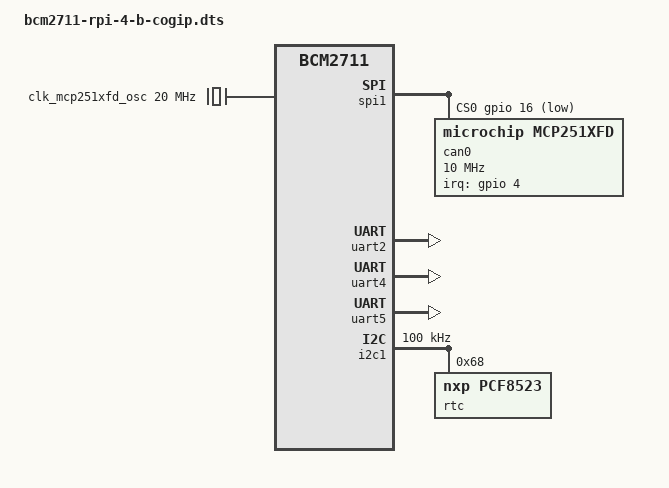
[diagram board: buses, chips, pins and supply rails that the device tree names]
// SPDX-License-Identifier: GPL-2.0
/*
 * Cogip Raspberry Pi 4 board device tree.
 *
 * Extends the stock RPi 4B DT (which itself pulls in arm/broadcom/...) with the
 * Cogip robot peripherals, baked directly into the board DT instead of stacking
 * config.txt overlays (mainline kernel has no overlay set). The root compatible
 * is inherited unchanged ("raspberrypi,4-model-b"), so brcmfmac still looks for
 * the brcmfmac43455-sdio.raspberrypi,4-model-b.txt NVRAM.
 *
 * Pin groups are defined inline (brcm,pins + FSEL) so this DT does not depend
 * on mainline pin-group label names. bcm2711 ALT4 mapping:
 *   GPIO19/20/21 = SPI1 MISO/MOSI/SCLK ; GPIO16 = SPI1 CS0 (driven as GPIO)
 *   GPIO4  = MCP251xFD IRQ
 *   GPIO0/1   = TXD2/RXD2 (uart2)
 *   GPIO8/9   = TXD4/RXD4 (uart4)
 *   GPIO12/13 = TXD5/RXD5 (uart5)
 *   GPIO2/3   = SDA1/SCL1 (i2c1)
 */
/dts-v1/;

#include "bcm2711-rpi-4-b.dts"

#include <dt-bindings/gpio/gpio.h>
#include <dt-bindings/interrupt-controller/irq.h>
#include <dt-bindings/pinctrl/bcm2835.h>

/ {
	/* CAN-FD crystal feeding the MCP251xFD (20 MHz). */
	clk_mcp251xfd_osc: clk-mcp251xfd-osc {
		compatible = "fixed-clock";
		#clock-cells = <0>;
		clock-frequency = <20000000>;
	};

	aliases {
		/*
		 * Pin the microSD slot (emmc2) to mmcblk0, like the RPi vendor DT.
		 * Mainline defines no mmc aliases, so it probes the WiFi SDIO
		 * controller (fe300000) first as mmc0 and the SD card (fe340000)
		 * becomes mmcblk1 -- breaking root=/dev/mmcblk0p2 and the fstab
		 * mounts (boot/data), which drop the boot to emergency mode.
		 */
		mmc0 = &emmc2;
		serial2 = &uart2;
		serial4 = &uart4;
		serial5 = &uart5;
	};
};

&gpio {
	spi1_cogip_pins: spi1-cogip-pins {
		brcm,pins = <19 20 21>;
		brcm,function = <BCM2835_FSEL_ALT4>;
	};

	spi1_cogip_cs_pins: spi1-cogip-cs-pins {
		brcm,pins = <16>;
		brcm,function = <BCM2835_FSEL_GPIO_OUT>;
	};

	can_irq_pins: can-irq-pins {
		brcm,pins = <4>;
		brcm,function = <BCM2835_FSEL_GPIO_IN>;
	};

	uart2_cogip_pins: uart2-cogip-pins {
		brcm,pins = <0 1>;
		brcm,function = <BCM2835_FSEL_ALT4>;
	};

	uart4_cogip_pins: uart4-cogip-pins {
		brcm,pins = <8 9>;
		brcm,function = <BCM2835_FSEL_ALT4>;
	};

	uart5_cogip_pins: uart5-cogip-pins {
		brcm,pins = <12 13>;
		brcm,function = <BCM2835_FSEL_ALT4>;
	};
};

/* CAN-FD (copilot bus): MCP251xFD on SPI1, CS0 = GPIO16, IRQ = GPIO4. */
&spi1 {
	pinctrl-names = "default";
	pinctrl-0 = <&spi1_cogip_pins &spi1_cogip_cs_pins>;
	cs-gpios = <&gpio 16 GPIO_ACTIVE_LOW>;
	status = "okay";

	can0: can@0 {
		compatible = "microchip,mcp251xfd";
		reg = <0>;
		pinctrl-names = "default";
		pinctrl-0 = <&can_irq_pins>;
		spi-max-frequency = <10000000>;
		interrupt-parent = <&gpio>;
		interrupts = <4 IRQ_TYPE_LEVEL_LOW>;
		clocks = <&clk_mcp251xfd_osc>;
	};
};

/* Extra PL011 UARTs: uart2 (mcu-logger), uart4 (lidar), uart5 (spare). */
&uart2 {
	pinctrl-names = "default";
	pinctrl-0 = <&uart2_cogip_pins>;
	status = "okay";
};

&uart4 {
	pinctrl-names = "default";
	pinctrl-0 = <&uart4_cogip_pins>;
	status = "okay";
};

&uart5 {
	pinctrl-names = "default";
	pinctrl-0 = <&uart5_cogip_pins>;
	status = "okay";
};

/* I2C1 (GPIO2/3) + PCF8523 RTC at 0x68. */
&i2c1 {
	clock-frequency = <100000>;
	status = "okay";

	rtc@68 {
		compatible = "nxp,pcf8523";
		reg = <0x68>;
	};
};
